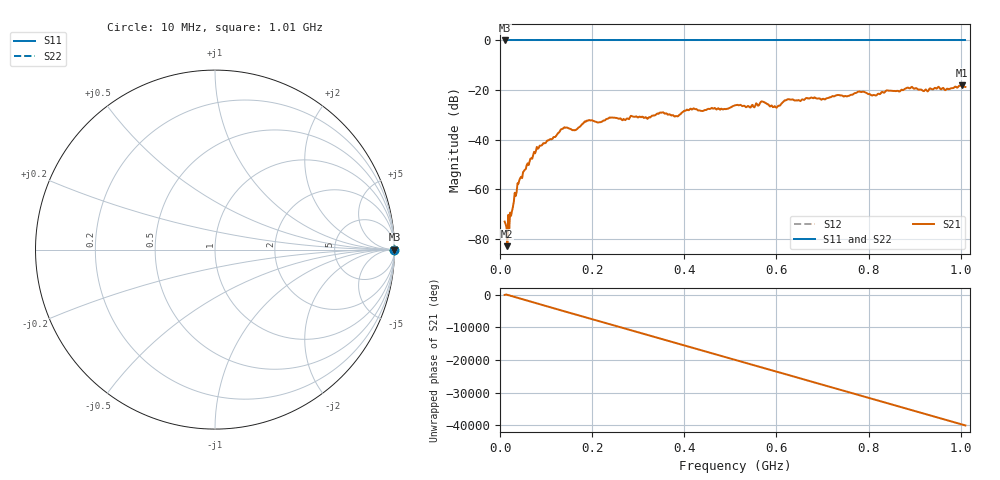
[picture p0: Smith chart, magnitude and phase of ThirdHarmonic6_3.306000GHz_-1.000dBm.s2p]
! 8/17/2025 10:19:19 AM
! C:\ANRITSUVNA\TEMP\TEMP.S2P
! CHANNEL.1
! TR.MEASUREMENT
! RAW.DATA
! RF.CORRECTION.OFF
! AVERAGING.OFF
! IF.BANDWIDTH: 5KHZ
! SWEEPTYPE:  FREQ.SWEEP(Linear)
! Reference Plane Port Info
! PORT:  PORT1  PORT2
! DISTANCE:  0  m  0  m
! TIME:  0  s  0  s
! PHASE.OFFSET:  0  deg.  0  deg.
! LOSS:  0  dB  0  dB
! REF.LOSS:  0  dB  0  dB
! REF.FREQ:  0  Hz  0  Hz
! Power Info
! POWER:  -20  dBm  -20  dBm
! EFF.POWER:  -20  dBm  -20  dBm
! SOURCE.ATTEN:  0  dB  0  dB
! TEST.ATTEN:  0  dB  0  dB
# GHZ S RI R 50.0
! FREQ.GHZ  S11RE  S11IM  S21RE  S21IM  S12RE  S12IM  S22RE  S22IM
!; PortSelection: Port_12
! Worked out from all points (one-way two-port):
!   501 points, 10 MHz to 1.01 GHz, reference 50 ohm
!   highest |S21| = -18.17 dB at 1.002 GHz (marker M1); lowest = -83.1 dB at 16 MHz (marker M2)
!   lowest |S11| = 0.0 dB at 10 MHz (marker M3)
!   |S11| at or under -10 dB: nowhere
!   |S22| runs from 0.0 to 0.0 dB; largest |S21 - S12| = 1.1
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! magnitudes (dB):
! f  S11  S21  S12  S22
! 10 MHz  0.0  -73.1  0.0  0.0
! 16 MHz  0.0  -83.1  0.0  0.0
! 42 MHz  0.0  -56.4  0.0  0.0
! 76 MHz  0.0  -45.6  0.0  0.0
! 136 MHz  0.0  -35.7  0.0  0.0
! 162 MHz  0.0  -36.3  0.0  0.0
! 178 MHz  0.0  -33.9  0.0  0.0
! 192 MHz  0.0  -32.2  0.0  0.0
! 344 MHz  0.0  -29.6  0.0  0.0
! 382 MHz  0.0  -30.5  0.0  0.0
! 416 MHz  0.0  -27.9  0.0  0.0
! 510 MHz  0.0  -26.2  0.0  0.0
! 548 MHz  0.0  -26.0  0.0  0.0
! 570 MHz  0.0  -24.7  0.0  0.0
! 598 MHz  0.0  -26.9  0.0  0.0
! 622 MHz  0.0  -24.0  0.0  0.0
! 678 MHz  0.0  -23.2  0.0  0.0
! 780 MHz  0.0  -20.6  0.0  0.0
! 812 MHz  0.0  -22.0  0.0  0.0
! 844 MHz  0.0  -20.3  0.0  0.0
! 1.002 GHz  0.0  -18.2  0.0  0.0
! 1.01 GHz  0.0  -18.8  0.0  0.0
